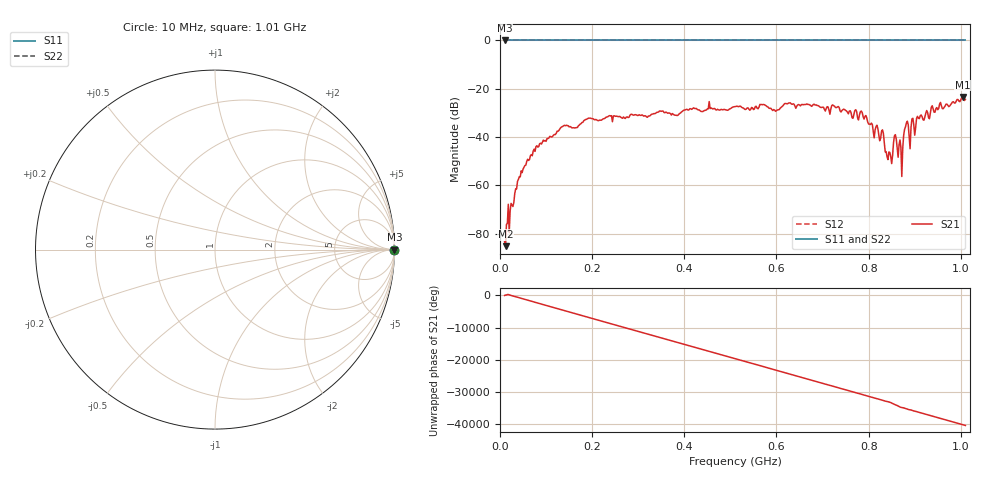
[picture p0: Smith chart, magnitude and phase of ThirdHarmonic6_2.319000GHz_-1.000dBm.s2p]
! 8/17/2025 3:16:41 AM
! C:\ANRITSUVNA\TEMP\TEMP.S2P
! CHANNEL.1
! TR.MEASUREMENT
! RAW.DATA
! RF.CORRECTION.OFF
! AVERAGING.OFF
! IF.BANDWIDTH: 5KHZ
! SWEEPTYPE:  FREQ.SWEEP(Linear)
! Reference Plane Port Info
! PORT:  PORT1  PORT2
! DISTANCE:  0  m  0  m
! TIME:  0  s  0  s
! PHASE.OFFSET:  0  deg.  0  deg.
! LOSS:  0  dB  0  dB
! REF.LOSS:  0  dB  0  dB
! REF.FREQ:  0  Hz  0  Hz
! Power Info
! POWER:  -20  dBm  -20  dBm
! EFF.POWER:  -20  dBm  -20  dBm
! SOURCE.ATTEN:  0  dB  0  dB
! TEST.ATTEN:  0  dB  0  dB
# GHZ S RI R 50.0
! FREQ.GHZ  S11RE  S11IM  S21RE  S21IM  S12RE  S12IM  S22RE  S22IM
!; PortSelection: Port_12
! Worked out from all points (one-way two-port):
!   501 points, 10 MHz to 1.01 GHz, reference 50 ohm
!   highest |S21| = -23.41 dB at 1.004 GHz (marker M1); lowest = -85.2 dB at 12 MHz (marker M2)
!   lowest |S11| = 0.0 dB at 10 MHz (marker M3)
!   |S11| at or under -10 dB: nowhere
!   |S22| runs from 0.0 to 0.0 dB; largest |S21 - S12| = 1.1
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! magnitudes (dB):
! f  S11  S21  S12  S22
! 10 MHz  0.0  -83.4  0.0  0.0
! 12 MHz  0.0  -85.2  0.0  0.0
! 42 MHz  0.0  -56.4  0.0  0.0
! 76 MHz  0.0  -45.9  0.0  0.0
! 136 MHz  0.0  -35.6  0.0  0.0
! 178 MHz  0.0  -34.0  0.0  0.0
! 344 MHz  0.0  -29.7  0.0  0.0
! 510 MHz  0.0  -27.4  0.0  0.0
! 678 MHz  0.0  -27.0  0.0  0.0
! 784 MHz  0.0  -29.2  0.0  0.0
! 830 MHz  0.0  -37.0  0.0  0.0
! 838 MHz  0.0  -46.1  0.0  0.0
! 844 MHz  0.0  -46.2  0.0  0.0
! 850 MHz  0.0  -51.0  0.0  0.0
! 858 MHz  0.0  -39.0  0.0  0.0
! 868 MHz  0.0  -41.2  0.0  0.0
! 874 MHz  0.0  -44.8  0.0  0.0
! 882 MHz  0.0  -34.2  0.0  0.0
! 888 MHz  0.0  -40.0  0.0  0.0
! 910 MHz  0.0  -32.4  0.0  0.0
! 1.004 GHz  0.0  -23.4  0.0  0.0
! 1.01 GHz  0.0  -24.4  0.0  0.0
